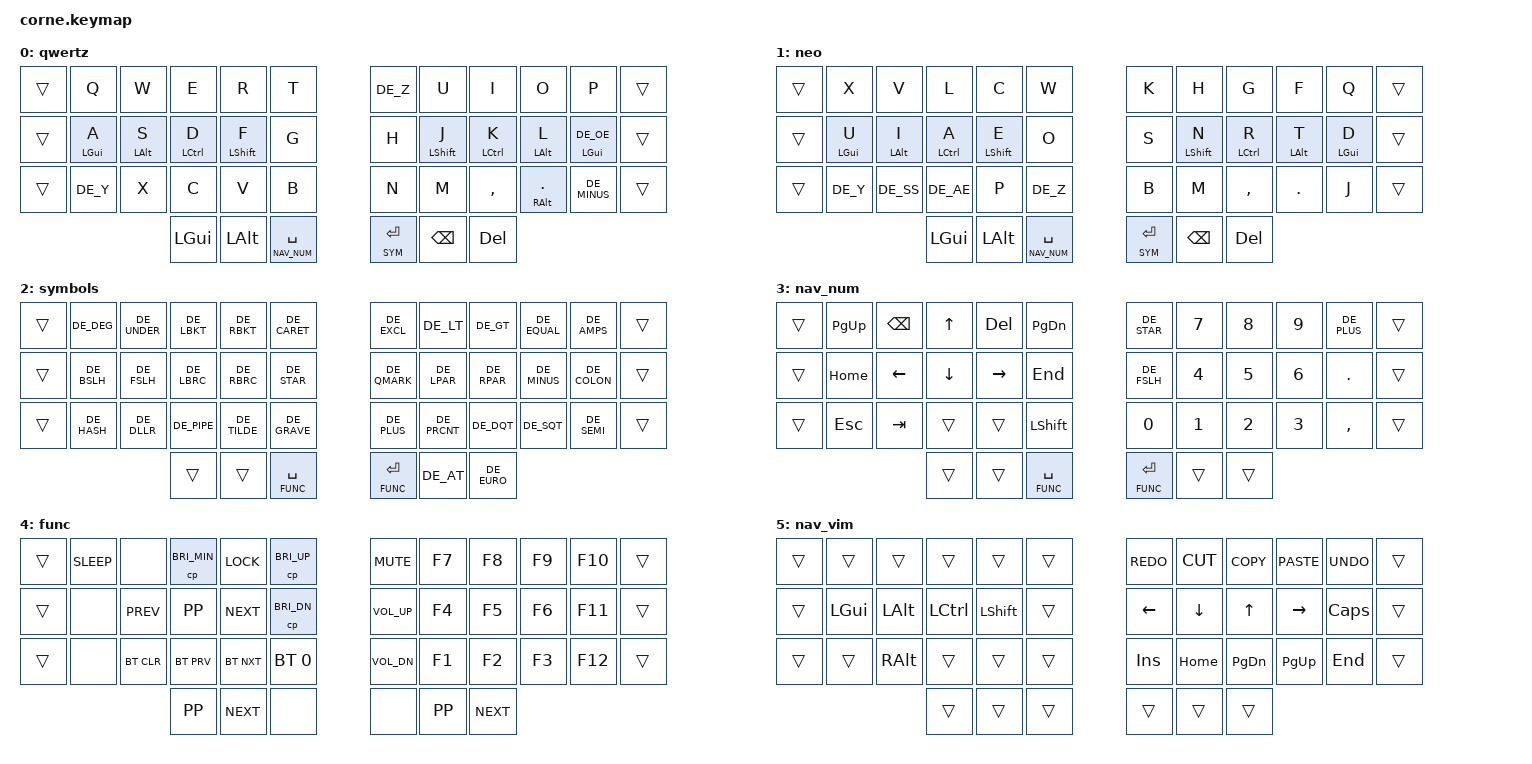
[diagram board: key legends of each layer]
/*
 * Copyright (c) 2020 The ZMK Contributors
 *
 * SPDX-License-Identifier: MIT
 *
 * Copied from https://github.com/jasoneliu/zmk-config
 */

#include <behaviors.dtsi>
#include <dt-bindings/zmk/keys.h>
#include <dt-bindings/zmk/bt.h>
#include <dt-bindings/zmk/ext_power.h>
#include <dt-bindings/zmk/outputs.h>

// Thanks to auipga from the ZMK Discord for providing this. 
#include "keymap-german-rev3.h"

// Layer Definitions
#define QWERTZ 0
#define NEO 1
#define SYM 2
#define NAV_NUM 3
#define FUNC 4
#define NAV_VIM 5

// Behavior configuration
&mt {
    tapping-term-ms = <200>;
    quick_tap_ms = <0>;
    flavor = "tap-preferred";
};
&lt {
    tapping-term-ms = <200>;
    quick_tap_ms = <0>;
    flavor = "tap-preferred";
};
&sk {
    release-after-ms = <500>;
    quick-release;
};

/ {

    behaviors {
        slt: sticky_layer_tap {
            compatible = "zmk,behavior-hold-tap";
            label = "STICKY_LAYER_TAP";
            #binding-cells = <2>;
            tapping_term_ms = <200>;
            quick_tap_ms = <0>;
            flavor = "tap-preferred";
            bindings = <&mo>, <&sk>;
        };
    };

    keymap {
        compatible = "zmk,keymap";


        qwertz {
            // TODO: add umlaute on double taps or something
            // TODO: permanent switch between qwertz and neo
// ---------------------------------------------------------------------------------------------------------
// |     |   Q    |   W    |     E     |     R     |     T     | # |     Z     |     U    |    I     |    O   |   P    |     |
// |     | A/LGUI | S/LALT |  D/LCTRL  |  F/LSHFT  |     G     | # |     H     | J/LSHFT  | K/LCTRL  | L/LALT | ;/LGUI |     |
// |     |   Y    |    X   |     C     |     V     |     B     | # |     N     |     M    |    ,     | ./RALT |   /    |     |
//                         |   GUI     |  alt      |NAV_NUM/SPC| # | SYM/ENTER |   BSPC   |    DEL   |

            bindings = <
&trans  &kp Q       &kp W       &kp E          &kp R          &kp T                &kp DE_Z       &kp U         &kp I        &kp O         &kp P          &trans
&trans  &mt LGUI A  &mt LALT S  &mt LCTRL D    &mt LSHFT F    &kp G                &kp H          &mt LSHFT J   &mt LCTRL K  &mt LALT L    &mt LGUI DE_OE &trans
&trans  &kp DE_Y    &kp X       &kp C          &kp V          &kp B                &kp N          &kp M         &kp CMMA     &mt RALT DOT  &kp DE_MINUS   &trans
                                &kp LGUI       &kp LALT       &lt NAV_NUM SPACE    &lt SYM ENTER  &kp BSPC      &kp DEL          >;
        };

        neo {
            // TODO: add umlaute on double taps or something
// ---------------------------------------------------------------------------------------------------------
// |     |   X    |   V    |     L     |     C     |     W     | # |     K     |    H     |    G     |    F   |   Q/ß  |     |
// |     | U/LGUI | I/LALT |  A/LCTRL  |  E/LSHFT  |     O     | # |     S     | N/LSHFT  | R/LCTRL  | T/LALT | D/LGUI | Y???|
// |     |  (Ü)Y  | (Ö)ß   |     Ä     |     P     |     Z     | # |     B     |     M    |    ,     |   .    |   J    |     |
//                         |   GUI     |    ALT    | TAB/MOUSE | # | SPACE/SYM |   BSPC   |   DEL    |

            bindings = <
&trans  &kp X       &kp V      &kp L       &kp C       &kp W             &kp K         &kp H       &kp G       &kp F      &kp Q      &trans
&trans  &mt LGUI U  &mt LALT I &mt LCTRL A &mt LSHFT E &kp O             &kp S         &mt LSHFT N &mt LCTRL R &mt LALT T &mt LGUI D &trans
&trans  &kp DE_Y    &kp DE_SS  &kp DE_AE   &kp P       &kp DE_Z          &kp B         &kp M       &kp CMMA    &kp DOT    &kp J      &trans
                               &kp LGUI    &kp LALT    &lt NAV_NUM SPACE &lt SYM ENTER &kp BSPC    &kp DEL
                >;
        };

        symbols {
// ---------------------------------------------------------------------------------
// |     |  °  |  _  |  [  |  ]  |  ^  | # |   !  |  <  |  >  |  =  |  &  |     |
// |     |  \  |  /  |  {  |  }  |  *  | # |   ?  |  (  |  )  |  -  |  :  |     |
// |     |  #  |  $  |  |  |  ~  |  `  | # |   +  |  %  |  "  |  '  |  ;  |     |
//                   |     |     |HELD | # |      |  @  |  €  |

            bindings = <
&trans  &kp DE_DEG &kp DE_UNDER &kp DE_LBKT &kp DE_RBKT &kp DE_CARET   /**/   &kp DE_EXCL  &kp DE_LT    &kp DE_GT   &kp DE_EQUAL &kp DE_AMPS  &trans
&trans  &kp DE_BSLH &kp DE_FSLH &kp DE_LBRC &kp DE_RBRC &kp DE_STAR    /**/   &kp DE_QMARK &kp DE_LPAR  &kp DE_RPAR &kp DE_MINUS &kp DE_COLON &trans
&trans  &kp DE_HASH &kp DE_DLLR &kp DE_PIPE &kp DE_TILDE &kp DE_GRAVE  /**/   &kp DE_PLUS  &kp DE_PRCNT &kp DE_DQT  &kp DE_SQT   &kp DE_SEMI  &trans
                                &trans      &trans      &lt FUNC SPACE /**/   &lt FUNC ENTER &kp DE_AT  &kp DE_EURO
            >;
        };

        nav_num {
// ---------------------------------------------------------------------------------------
// |     | PgUp | Bksp |  up   |  del  | PgDn| # |   *   |  7   |  8   |   9   |   +   |     |
// |     | home | left |  down | right | end | # |   /   |  4   |  5   |   6   |  ./:  |     |
// |     |  esc |  tab |       |       |shift| # |   0   |  1   |  2   |   3   |  ,/;  |     |
//                     |       |       |  0  | # |       |      |      |

            bindings = <
&trans  &kp PG_UP &kp BSPC  &kp UP     &kp DEL    &kp PG_DN         &kp DE_STAR   &kp N7  &kp N8   &kp N9  &kp DE_PLUS &trans
&trans  &kp HOME  &kp LEFT  &kp DOWN   &kp RIGHT  &kp END           &kp DE_FSLH   &kp N4  &kp N5   &kp N6  &kp DOT     &trans
&trans  &kp ESC   &kp TAB   &trans     &trans     &kp LSHFT         &kp N0        &kp N1  &kp N2   &kp N3  &kp CMMA     &trans
                            &trans     &trans     &lt FUNC SPACE    &lt FUNC ENTER &trans &trans
            >;
        };
        

        func {
// ---------------------------------------------------------------------------------------
// |     | sleep|      |bri min| lock  |bri +| # | mute  |  F7  |  F8  |  F9   |  F10  |     |
// |     |      | prev | play  | next  |bri -| # | vol + |  F4  |  F5  |  F6   |  F11  |     |
// |     |      |bt_clr|bt_prev| bt_nxt| bt 0| # | vol - |  F1  |  F2  |  F3   |  F12  |     |
//                             | play  | next| # |       | play | next |

            bindings = <
&trans  &kp K_SLEEP &none   &cp C_BRI_MIN &kp K_LOCK &cp C_BRI_UP  &kp K_MUTE    &kp F7  &kp F8  &kp F9  &kp F10  &trans
&trans  &none    &kp K_PREV &kp K_PP      &kp K_NEXT &cp C_BRI_DN  &kp K_VOL_UP  &kp F4  &kp F5  &kp F6  &kp F11  &trans
&trans  &none    &bt BT_CLR &bt BT_PRV    &bt BT_NXT &bt BT_SEL 0  &kp K_VOL_DN  &kp F1  &kp F2  &kp F3  &kp F12  &trans
                            &kp K_PP      &kp K_NEXT &none         &none         &kp K_PP &kp K_NEXT
            >;
        };

// TODO: Shortcut Layer. (Copy, paste, undo, etc.). nav_vim?

        nav_vim {
// ---------------------------------------------------------------------------------------
// |     |      |      |       |       |     | # | REDO  | CUT  | COPY | PASTE | UNDO  |     |
// |     | LGUI | LALT | LCTRL | LSHFT |     | # | CAPS  | LEFT | DOWN | UP    | RIGHT |     |
// |     |      | RALT |       |       |     | # | INS   | HOME | PGDN | PGUP  | END   |     |
//                     |       | HELD  |     | # |       |      |      |

            bindings = <
&trans  &trans    &trans    &trans     &trans     &trans        &kp K_REDO    &kp K_CUT  &kp K_COPY  &kp K_PASTE  &kp K_UNDO  &trans
&trans  &kp LGUI  &kp LALT  &kp LCTRL  &kp LSHFT  &trans        &kp LEFT      &kp DOWN   &kp UP      &kp RIGHT   &kp CAPSLOCK &trans
&trans  &trans    &kp RALT  &trans     &trans     &trans        &kp INS       &kp HOME   &kp PG_DN   &kp PG_UP    &kp END     &trans
                            &trans     &trans     &trans        &trans        &trans     &trans
            >;
        };


    };};
